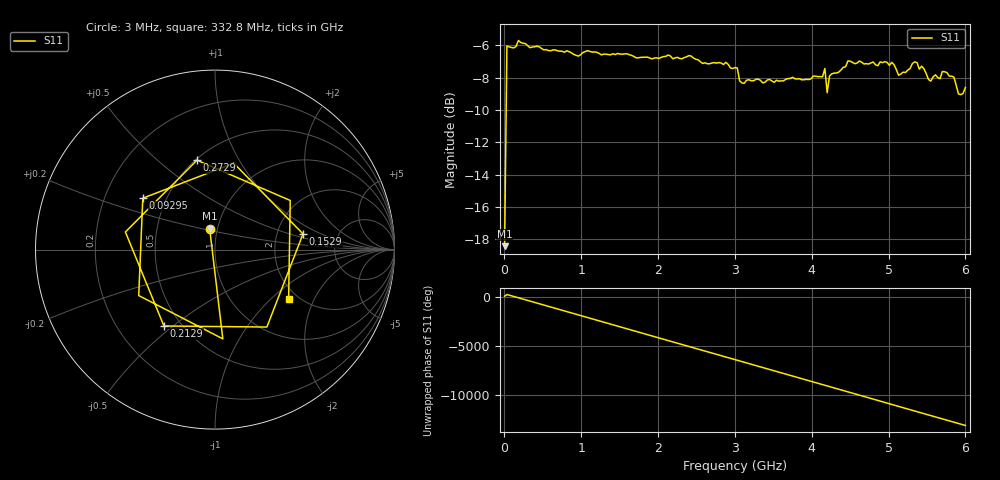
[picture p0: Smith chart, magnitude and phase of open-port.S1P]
! C:\data\Siglent F603FE cal kit tests\open port.S1P
! Touchstone 1.1 file saved by VNA.EXE V1.60 (www.ke5fx.com/gpib/readme.htm)
! 26/07/2020 11:36:08 a.m.
!  Source: HEWLETT PACKARD,8753C,0,4.12
!  Min freq: 3.000000E+006 Hz
!  Max freq: 6.000000E+009 Hz
!  Points: 201
!  Params: S11
# GHZ S DB R 50
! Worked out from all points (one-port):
!   201 points, 3 MHz to 6 GHz, reference 50 ohm
!   lowest |S11| = -18.4 dB at 3 MHz (marker M1), VSWR 1.27, Z = 45.9 + j10.8 ohm
!   |S11| at or under -10 dB: start of sweep to 23.39 MHz
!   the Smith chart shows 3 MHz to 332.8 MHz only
!   S11 on the Smith chart (normalised r, x): 3 MHz: 0.92, +0.22; 92.95 MHz: 0.37, +0.28; 152.9 MHz: 2.81, +0.65; 212.9 MHz: 0.40, -0.46; 272.9 MHz: 0.51, +0.68; 332.8 MHz: 1.79, -1.30
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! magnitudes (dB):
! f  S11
! 3 MHz  -18.4
! 32.98 MHz  -6.0
! 92.95 MHz  -6.1
! 152.9 MHz  -6.1
! 212.9 MHz  -5.8
! 272.9 MHz  -5.9
! 332.8 MHz  -6.1
! 752.6 MHz  -6.4
! 1.502 GHz  -6.5
! 2.252 GHz  -6.7
! 3.002 GHz  -7.4
! 3.031 GHz  -7.4
! 3.091 GHz  -8.3
! 3.751 GHz  -8.0
! 4.141 GHz  -7.9
! 4.171 GHz  -7.4
! 4.201 GHz  -8.9
! 4.231 GHz  -7.9
! 4.501 GHz  -7.0
! 5.04 GHz  -7.0
! 5.13 GHz  -7.8
! 5.25 GHz  -7.5
! 5.37 GHz  -7.1
! 5.55 GHz  -8.2
! 5.73 GHz  -7.6
! 5.85 GHz  -8.0
! 5.91 GHz  -9.0
! 6 GHz  -8.6
